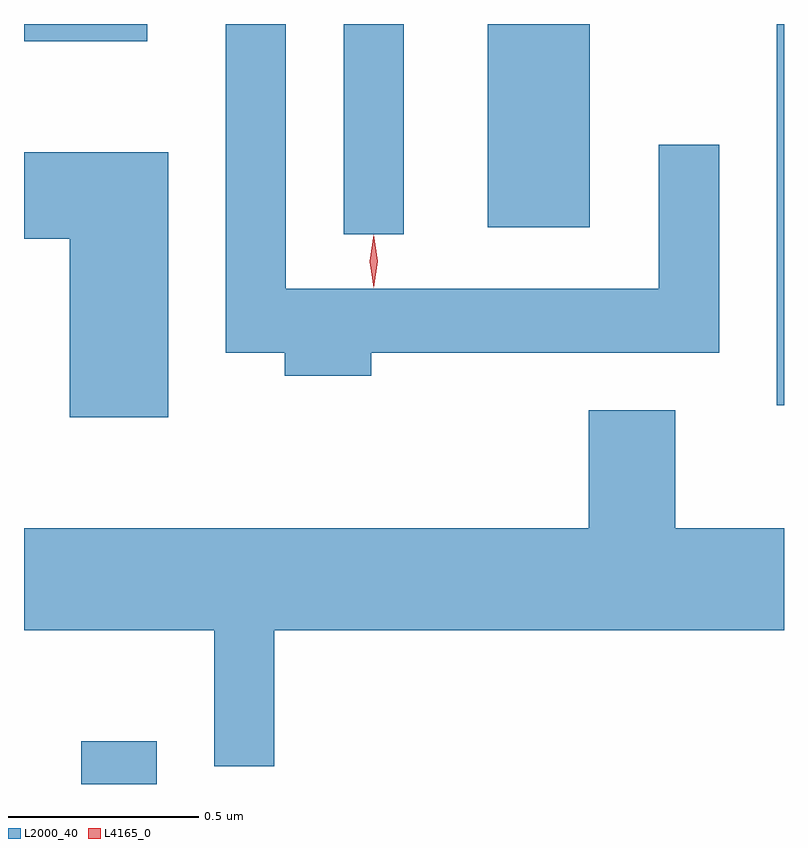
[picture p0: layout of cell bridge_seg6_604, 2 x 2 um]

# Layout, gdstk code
import gdstk
lib = gdstk.Library(unit=1e-6, precision=1e-09)
def R(c, l, rs):  # rectangles x0, y0, x1, y1
    for r in rs: c.add(gdstk.rectangle(r[:2], r[2:], *l))
def P(c, l, *ps):  # polygons
    for p in ps: c.add(gdstk.Polygon(p, *l))
L2000_40 = (2000, 40)
L4165_0 = (4165, 0)

bridge_seg6_604 = lib.new_cell('bridge_seg6_604')
R(bridge_seg6_604, L2000_40, [(404.366,1605.131,404.564,1605.244), (406.196,1606.128,406.215,1607.131), (405.056,1606.578,405.214,1607.131), (405.436,1606.596,405.704,1607.131), (404.215,1607.086,404.539,1607.131)])
P(bridge_seg6_604, L2000_40, [(405.129,1606.266),(406.044,1606.266),(406.044,1606.813),(405.886,1606.813),(405.886,1606.434),(404.904,1606.434),(404.904,1607.131),(404.746,1607.131),(404.746,1606.266),(404.901,1606.266),(404.901,1606.206),(405.129,1606.206)],
  [(404.594,1606.794),(404.215,1606.794),(404.215,1606.566),(404.336,1606.566),(404.336,1606.096),(404.594,1606.096)],
  [(404.874,1605.536),(406.215,1605.536),(406.215,1605.804),(405.929,1605.804),(405.929,1606.114),(405.701,1606.114),(405.701,1605.804),(404.215,1605.804),(404.215,1605.536),(404.716,1605.536),(404.716,1605.178),(404.874,1605.178)])
P(bridge_seg6_604, L4165_0, [(405.135,1606.437),(405.125,1606.507),(405.135,1606.576),(405.136,1606.576),(405.136,1606.576),(405.146,1606.507),(405.136,1606.437),(405.136,1606.437)],
  [(405.135,1606.439),(405.135,1606.44),(405.125,1606.506),(405.135,1606.572),(405.135,1606.573),(405.136,1606.572),(405.145,1606.506),(405.136,1606.44)])

lib.write_gds('bridge_seg6_604.gds')
